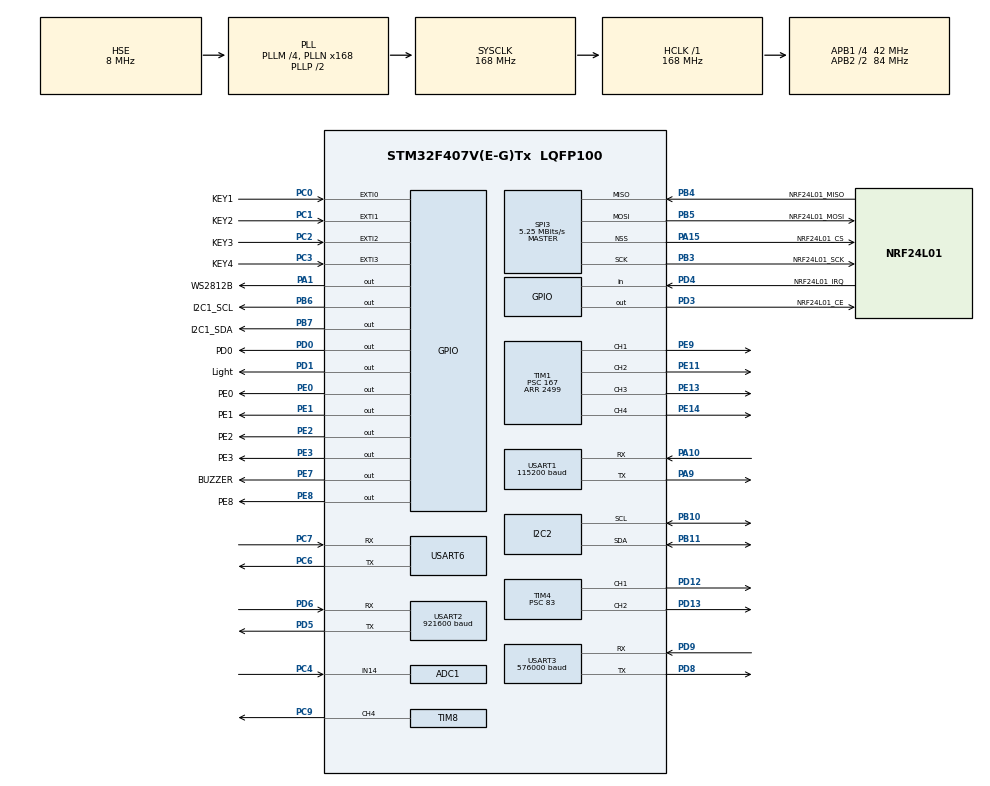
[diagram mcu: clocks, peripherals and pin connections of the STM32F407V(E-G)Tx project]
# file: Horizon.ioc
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ADC1.Channel-0\#ChannelRegularConversion=ADC_CHANNEL_14
ADC1.NbrOfConversionFlag=1
ADC1.Rank-0\#ChannelRegularConversion=1
ADC1.SamplingTime-0\#ChannelRegularConversion=ADC_SAMPLETIME_3CYCLES
ADC1.master=1
Dma.Request0=USART2_RX
Dma.Request1=USART3_RX
Dma.Request2=USART1_TX
Dma.USART1_TX.2.Direction=DMA_MEMORY_TO_PERIPH
Dma.USART1_TX.2.FIFOMode=DMA_FIFOMODE_DISABLE
Dma.USART1_TX.2.Instance=DMA2_Stream7
Dma.USART1_TX.2.MemDataAlignment=DMA_MDATAALIGN_BYTE
Dma.USART1_TX.2.MemInc=DMA_MINC_ENABLE
Dma.USART1_TX.2.Mode=DMA_CIRCULAR
Dma.USART1_TX.2.PeriphDataAlignment=DMA_PDATAALIGN_BYTE
Dma.USART1_TX.2.PeriphInc=DMA_PINC_DISABLE
Dma.USART1_TX.2.Priority=DMA_PRIORITY_HIGH
Dma.USART2_RX.0.Direction=DMA_PERIPH_TO_MEMORY
Dma.USART2_RX.0.FIFOMode=DMA_FIFOMODE_DISABLE
Dma.USART2_RX.0.Instance=DMA1_Stream5
Dma.USART2_RX.0.MemDataAlignment=DMA_MDATAALIGN_BYTE
Dma.USART2_RX.0.MemInc=DMA_MINC_ENABLE
Dma.USART2_RX.0.Mode=DMA_NORMAL
Dma.USART2_RX.0.PeriphDataAlignment=DMA_PDATAALIGN_BYTE
Dma.USART2_RX.0.PeriphInc=DMA_PINC_DISABLE
Dma.USART2_RX.0.Priority=DMA_PRIORITY_HIGH
Dma.USART3_RX.1.Direction=DMA_PERIPH_TO_MEMORY
Dma.USART3_RX.1.FIFOMode=DMA_FIFOMODE_DISABLE
Dma.USART3_RX.1.Instance=DMA1_Stream1
Dma.USART3_RX.1.MemDataAlignment=DMA_MDATAALIGN_BYTE
Dma.USART3_RX.1.MemInc=DMA_MINC_ENABLE
Dma.USART3_RX.1.Mode=DMA_CIRCULAR
Dma.USART3_RX.1.PeriphDataAlignment=DMA_PDATAALIGN_BYTE
Dma.USART3_RX.1.PeriphInc=DMA_PINC_DISABLE
Dma.USART3_RX.1.Priority=DMA_PRIORITY_VERY_HIGH
FREERTOS.BinarySemaphores01=upstate,Dynamic,NULL;downstate,Dynamic,NULL;MOTOR_EN,Dynamic,NULL
FREERTOS.INCLUDE_vTaskDelayUntil=1
FREERTOS.Tasks01=Default_Task,-3,128,StartDefault_Task,Default,NULL,Dynamic,NULL,NULL;Sensor_Task,3,512,StartSensor_Task,Default,NULL,Dynamic,NULL,NULL;PID_Task,3,1280,StartPID_Task,Default,NULL,Dynamic,NULL,NULL;KEY_Task,1,128,StartKEY_Task,Default,NULL,Dynamic,NULL,NULL;User_Taask,2,512,StartUser_Taask,Default,NULL,Dynamic,NULL,NULL;VOFA_Task,2,512,StartVOFA_Task,Default,NULL,Dynamic,NULL,NULL;POWER_Task,-2,128,StartPOWER_Task,Default,NULL,Dynamic,NULL,NULL
FREERTOS.configENABLE_FPU=1
FREERTOS.configMAX_PRIORITIES=10
FREERTOS.configUSE_APPLICATION_TASK_TAG=1
FREERTOS.configUSE_COUNTING_SEMAPHORES=1
FREERTOS.configUSE_MALLOC_FAILED_HOOK=1
FREERTOS.configUSE_RECURSIVE_MUTEXES=1
I2C2.I2C_Mode=I2C_Fast
Mcu.Family=STM32F4
Mcu.Name=STM32F407V(E-G)Tx
Mcu.Package=LQFP100
NVIC.DMA1_Stream1_IRQn=true\:5\:0\:false\:false\:true\:true\:false\:true\:true
NVIC.DMA1_Stream5_IRQn=true\:5\:0\:false\:false\:true\:true\:false\:true\:true
NVIC.DMA2_Stream7_IRQn=true\:5\:0\:false\:false\:true\:true\:false\:true\:true
NVIC.EXTI0_IRQn=true\:5\:0\:false\:false\:true\:true\:true\:true\:true
NVIC.EXTI1_IRQn=true\:5\:0\:false\:false\:true\:true\:true\:true\:true
NVIC.EXTI2_IRQn=true\:5\:0\:false\:false\:true\:true\:true\:true\:true
NVIC.EXTI3_IRQn=true\:5\:0\:false\:false\:true\:true\:true\:true\:true
NVIC.PriorityGroup=NVIC_PRIORITYGROUP_4
NVIC.TIM1_UP_TIM10_IRQn=true\:15\:0\:false\:false\:true\:false\:false\:true\:true
NVIC.TimeBase=TIM1_UP_TIM10_IRQn
NVIC.TimeBaseIP=TIM10
NVIC.USART1_IRQn=true\:6\:0\:true\:false\:true\:false\:true\:true\:true
NVIC.USART2_IRQn=true\:6\:0\:true\:false\:true\:false\:true\:true\:true
NVIC.USART3_IRQn=true\:6\:0\:true\:false\:true\:false\:true\:true\:true
NVIC.USART6_IRQn=true\:6\:0\:true\:false\:true\:false\:true\:true\:true
PA1.GPIO_Label=WS2812B
PA1.GPIO_Speed=GPIO_SPEED_FREQ_HIGH
PA1.Signal=GPIO_Output
PA10.Mode=Asynchronous
PA10.Signal=USART1_RX
PA13.Mode=Serial_Wire
PA13.Signal=SYS_JTMS-SWDIO
PA14.Mode=Serial_Wire
PA14.Signal=SYS_JTCK-SWCLK
PA15.GPIO_Label=NRF24L01_CS
PA15.GPIO_Speed=GPIO_SPEED_FREQ_HIGH
PA15.Mode=NSS_Signal_Hard_Output
PA15.Signal=SPI3_NSS
PA9.Mode=Asynchronous
PA9.Signal=USART1_TX
PB10.Mode=I2C
PB10.Signal=I2C2_SCL
PB11.Mode=I2C
PB11.Signal=I2C2_SDA
PB3.GPIO_Label=NRF24L01_SCK
PB3.GPIO_Speed=GPIO_SPEED_FREQ_HIGH
PB3.Mode=Full_Duplex_Master
PB3.Signal=SPI3_SCK
PB4.GPIO_Label=NRF24L01_MISO
PB4.GPIO_Speed=GPIO_SPEED_FREQ_HIGH
PB4.Mode=Full_Duplex_Master
PB4.Signal=SPI3_MISO
PB5.GPIO_Label=NRF24L01_MOSI
PB5.GPIO_Speed=GPIO_SPEED_FREQ_HIGH
PB5.Mode=Full_Duplex_Master
PB5.Signal=SPI3_MOSI
PB6.GPIO_Label=I2C1_SCL
PB6.GPIO_ModeDefaultOutputPP=GPIO_MODE_OUTPUT_OD
PB6.GPIO_PuPd=GPIO_NOPULL
PB6.GPIO_Speed=GPIO_SPEED_FREQ_HIGH
PB6.PinState=GPIO_PIN_SET
PB6.Signal=GPIO_Output
PB7.GPIO_Label=I2C1_SDA
PB7.GPIO_ModeDefaultOutputPP=GPIO_MODE_OUTPUT_OD
PB7.GPIO_PuPd=GPIO_NOPULL
PB7.GPIO_Speed=GPIO_SPEED_FREQ_HIGH
PB7.PinState=GPIO_PIN_SET
PB7.Signal=GPIO_Output
PC0.GPIO_Label=KEY1
PC0.GPIO_ModeDefaultEXTI=GPIO_MODE_IT_FALLING
PC0.Signal=GPXTI0
PC1.GPIO_Label=KEY2
PC1.Signal=GPXTI1
PC2.GPIO_Label=KEY3
PC2.Signal=GPXTI2
PC3.GPIO_Label=KEY4
PC3.Signal=GPXTI3
PC4.Signal=ADCx_IN14
PC6.Mode=Asynchronous
PC6.Signal=USART6_TX
PC7.Mode=Asynchronous
PC7.Signal=USART6_RX
PC9.Signal=S_TIM8_CH4
PD0.GPIO_Label=PD0
PD0.GPIO_Speed=GPIO_SPEED_FREQ_VERY_HIGH
PD0.Signal=GPIO_Output
PD1.GPIO_Label=Light
PD1.GPIO_Speed=GPIO_SPEED_FREQ_VERY_HIGH
PD1.PinState=GPIO_PIN_SET
PD1.Signal=GPIO_Output
PD12.GPIO_Speed=GPIO_SPEED_FREQ_HIGH
PD12.Signal=S_TIM4_CH1
PD13.GPIO_Speed=GPIO_SPEED_FREQ_HIGH
PD13.Signal=S_TIM4_CH2
PD3.GPIO_Label=NRF24L01_CE
PD3.GPIO_Speed=GPIO_SPEED_FREQ_HIGH
PD3.Signal=GPIO_Output
PD4.GPIO_Label=NRF24L01_IRQ
PD4.GPIO_PuPd=GPIO_PULLUP
PD4.Signal=GPIO_Input
PD5.Mode=Asynchronous
PD5.Signal=USART2_TX
PD6.Mode=Asynchronous
PD6.Signal=USART2_RX
PD8.Mode=Asynchronous
PD8.Signal=USART3_TX
PD9.Mode=Asynchronous
PD9.Signal=USART3_RX
PE0.GPIO_Label=PE0
PE0.GPIO_Speed=GPIO_SPEED_FREQ_VERY_HIGH
PE0.Signal=GPIO_Output
PE1.GPIO_Label=PE1
PE1.GPIO_Speed=GPIO_SPEED_FREQ_VERY_HIGH
PE1.Signal=GPIO_Output
PE11.GPIO_Speed=GPIO_SPEED_FREQ_HIGH
PE11.Signal=S_TIM1_CH2
PE13.GPIO_Speed=GPIO_SPEED_FREQ_HIGH
PE13.Signal=S_TIM1_CH3
PE14.GPIO_Speed=GPIO_SPEED_FREQ_HIGH
PE14.Signal=S_TIM1_CH4
PE2.GPIO_Label=PE2
PE2.GPIO_Speed=GPIO_SPEED_FREQ_VERY_HIGH
PE2.Signal=GPIO_Output
PE3.GPIO_Label=PE3
PE3.GPIO_Speed=GPIO_SPEED_FREQ_VERY_HIGH
PE3.Signal=GPIO_Output
PE7.GPIO_Label=BUZZER
PE7.GPIO_Speed=GPIO_SPEED_FREQ_VERY_HIGH
PE7.Signal=GPIO_Output
PE8.GPIO_Label=PE8
PE8.GPIO_Speed=GPIO_SPEED_FREQ_VERY_HIGH
PE8.Signal=GPIO_Output
PE9.GPIO_Speed=GPIO_SPEED_FREQ_HIGH
PE9.Signal=S_TIM1_CH1
PH0-OSC_IN.Mode=HSE-External-Oscillator
PH0-OSC_IN.Signal=RCC_OSC_IN
PH1-OSC_OUT.Mode=HSE-External-Oscillator
PH1-OSC_OUT.Signal=RCC_OSC_OUT
ProjectManager.HeapSize=0x200
ProjectManager.StackSize=0x400
ProjectManager.TargetToolchain=SW4STM32
RCC.48MHZClocksFreq_Value=84000000
RCC.AHBFreq_Value=168000000
RCC.APB1CLKDivider=RCC_HCLK_DIV4
RCC.APB1Freq_Value=42000000
RCC.APB1TimFreq_Value=84000000
RCC.APB2CLKDivider=RCC_HCLK_DIV2
RCC.APB2Freq_Value=84000000
RCC.APB2TimFreq_Value=168000000
RCC.CortexFreq_Value=168000000
RCC.HCLKFreq_Value=168000000
RCC.HSE_VALUE=8000000
RCC.HSI_VALUE=16000000
RCC.LSE_VALUE=32768
RCC.PLLM=4
RCC.PLLN=168
RCC.PLLSourceVirtual=RCC_PLLSOURCE_HSE
RCC.SYSCLKFreq_VALUE=168000000
RCC.SYSCLKSource=RCC_SYSCLKSOURCE_PLLCLK
RCC.VCOOutputFreq_Value=336000000
SH.ADCx_IN14.0=ADC1_IN14,IN14
SH.S_TIM1_CH1.0=TIM1_CH1,PWM Generation1 CH1
SH.S_TIM1_CH2.0=TIM1_CH2,PWM Generation2 CH2
SH.S_TIM1_CH3.0=TIM1_CH3,PWM Generation3 CH3
SH.S_TIM1_CH4.0=TIM1_CH4,PWM Generation4 CH4
SH.S_TIM4_CH1.0=TIM4_CH1,PWM Generation1 CH1
SH.S_TIM4_CH2.0=TIM4_CH2,PWM Generation2 CH2
SH.S_TIM8_CH4.0=TIM8_CH4,PWM Generation4 CH4
SPI3.BaudRatePrescaler=SPI_BAUDRATEPRESCALER_8
SPI3.CLKPhase=SPI_PHASE_1EDGE
SPI3.CLKPolarity=SPI_POLARITY_LOW
SPI3.CalculateBaudRate=5.25 MBits/s
SPI3.Direction=SPI_DIRECTION_2LINES
SPI3.FirstBit=SPI_FIRSTBIT_MSB
SPI3.Mode=SPI_MODE_MASTER
SPI3.VirtualNSS=VM_NSSHARD
SPI3.VirtualType=VM_MASTER
STMicroelectronics.X-CUBE-ALGOBUILD.1.3.0.LibraryCcDSPOoLibraryJjDSPOoLibrary=true
TIM1.AutoReloadPreload=TIM_AUTORELOAD_PRELOAD_ENABLE
TIM1.Channel-PWM\ Generation1\ CH1=TIM_CHANNEL_1
TIM1.Channel-PWM\ Generation2\ CH2=TIM_CHANNEL_2
TIM1.Channel-PWM\ Generation3\ CH3=TIM_CHANNEL_3
TIM1.Channel-PWM\ Generation4\ CH4=TIM_CHANNEL_4
TIM1.OCFastMode_PWM-PWM\ Generation1\ CH1=TIM_OCFAST_ENABLE
TIM1.OCFastMode_PWM-PWM\ Generation2\ CH2=TIM_OCFAST_ENABLE
TIM1.OCFastMode_PWM-PWM\ Generation3\ CH3=TIM_OCFAST_ENABLE
TIM1.OCFastMode_PWM-PWM\ Generation4\ CH4=TIM_OCFAST_ENABLE
TIM1.Period=2499
TIM1.Prescaler=167
TIM2.AutoReloadPreload=TIM_AUTORELOAD_PRELOAD_DISABLE
TIM2.Channel-Output\ Compare1\ No\ Output=TIM_CHANNEL_1
TIM2.Period=1
TIM2.Prescaler=0
TIM4.AutoReloadPreload=TIM_AUTORELOAD_PRELOAD_ENABLE
TIM4.Channel-PWM\ Generation1\ CH1=TIM_CHANNEL_1
TIM4.Channel-PWM\ Generation2\ CH2=TIM_CHANNEL_2
TIM4.OCFastMode_PWM-PWM\ Generation1\ CH1=TIM_OCFAST_ENABLE
TIM4.OCFastMode_PWM-PWM\ Generation2\ CH2=TIM_OCFAST_ENABLE
TIM4.OCPolarity_1=TIM_OCPOLARITY_LOW
TIM4.OCPolarity_2=TIM_OCPOLARITY_LOW
TIM4.Period=19999
TIM4.Prescaler=83
TIM4.Pulse-PWM\ Generation1\ CH1=0
TIM7.Period=1
TIM7.Prescaler=83
TIM8.AutoReloadPreload=TIM_AUTORELOAD_PRELOAD_ENABLE
TIM8.Channel-PWM\ Generation4\ CH4=TIM_CHANNEL_4
TIM8.Period=19999
TIM8.Prescaler=167
USART1.BaudRate=115200
USART1.VirtualMode=VM_ASYNC
USART2.BaudRate=921600
USART2.VirtualMode=VM_ASYNC
USART3.BaudRate=576000
USART3.VirtualMode=VM_ASYNC
USART6.VirtualMode=VM_ASYNC
VP_FREERTOS_VS_CMSIS_V1.Mode=CMSIS_V1
VP_STMicroelectronics.X-CUBE-ALGOBUILD_VS_DSPOoLibraryJjLibrary_1.3.0_1.3.0.Mode=DSPOoLibraryJjLibrary
VP_SYS_VS_tim10.Mode=TIM10
VP_TIM1_VS_ClockSourceINT.Mode=Internal
VP_TIM2_VS_ClockSourceINT.Mode=Internal
VP_TIM2_VS_no_output1.Mode=Output Compare1 No Output
VP_TIM4_VS_ClockSourceINT.Mode=Internal
VP_TIM6_VS_ClockSourceINT.Mode=Enable_Timer
VP_TIM7_VS_ClockSourceINT.Mode=Enable_Timer
VP_TIM8_VS_ClockSourceINT.Mode=Internal
board=custom

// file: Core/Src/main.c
/* USER CODE BEGIN Header */
/**
  ******************************************************************************
  * @file           : main.c
  * @brief          : Main program body
  ******************************************************************************
  * @attention
  *
  * Copyright (c) 2023 STMicroelectronics.
  * All rights reserved.
  *
  * This software is licensed under terms that can be found in the LICENSE file
  * in the root directory of this software component.
  * If no LICENSE file comes with this software, it is provided AS-IS.
  *
  ******************************************************************************
  */
/* USER CODE END Header */
#include "main.h"
#include "cmsis_os.h"
#include "adc.h"
#include "dma.h"
#include "i2c.h"
#include "spi.h"
#include "tim.h"
#include "usart.h"
#include "gpio.h"

/* USER CODE BEGIN Includes */
//#include "JY901.h"
#include "retarget.h"
#include "oled.h"
#include "ws2812b.h"
#include "beep.h"
#include "optical_flow.h"
//#include "NRF24L01.h"
/* USER CODE END Includes */

void SystemClock_Config(void);
void MX_FREERTOS_Init(void);

/* USER CODE BEGIN 0 */

//void HAL_TIM_PWM_PulseFinishedCallback(TIM_HandleTypeDef *htim)  //ws2812b
//{
//    printf("DMA_input\r\n");
//    WS2812_Send();
//    printf("DMA_send!\r\n");
//}
uint8_t key_flag = 0;
uint8_t USRAT_flag = 0;
//int Height = 0;
float T265_x = 0, T265_y = 0/*, T265_z = 0*/;
/*float T265x_speed = 0, T265y_speed = 0, T265z_speed = 0*/;

/* USER CODE END 0 */

int main(void)
{

  /* MCU Configuration--------------------------------------------------------*/

  /* Reset of all peripherals, Initializes the Flash interface and the Systick. */
  HAL_Init();

  /* Configure the system clock */
  SystemClock_Config();

  /* USER CODE BEGIN SysInit */
//    HAL_TIM_PWM_Init(&htim1);  //PWM初始�????

  /* USER CODE END SysInit */

  /* Initialize all configured peripherals */
  MX_GPIO_Init();
  MX_ADC1_Init();
  MX_I2C2_Init();
  MX_SPI3_Init();
  MX_TIM1_Init();
  MX_TIM4_Init();
  MX_TIM8_Init();
  MX_USART1_UART_Init();
  MX_USART6_UART_Init();
  MX_DMA_Init();
  MX_USART2_UART_Init();
  MX_USART3_UART_Init();
  MX_TIM7_Init();
  MX_TIM2_Init();
  MX_TIM6_Init();
  /* USER CODE BEGIN 2 */
//  while(JY901_check())
//  {
//      printf("JY901 ERROR!\r");
//  }
    HAL_TIM_PWM_Start(&htim1,TIM_CHANNEL_1); // ͨ��1 PWM��ʼ��
    HAL_TIM_PWM_Start(&htim1,TIM_CHANNEL_2); // ͨ��2 PWM��ʼ��
    HAL_TIM_PWM_Start(&htim1,TIM_CHANNEL_3); // ͨ��3 PWM��ʼ��
    HAL_TIM_PWM_Start(&htim1,TIM_CHANNEL_4); // ͨ��4 PWM��ʼ��
//    HAL_UART_Receive_IT(&huart1, &USRAT_flag, 1);
//    HAL_UART_Receive_DMA(&huart2,optical_flow_buf,34);  //这里是光流数据！！！
//    HAL_UART_Receive_DMA(&huart3, T265_buf, 14);      //这里是T265数据！！！
//    HAL_UART_Receive_DMA(&huart1, Car_buf, 5);

    HAL_TIM_PWM_Start(&htim8,TIM_CHANNEL_4); // 舱门舵机控制
    __HAL_TIM_SET_COMPARE(&htim8, TIM_CHANNEL_4, 500);    //舱门关

    HAL_GPIO_WritePin(GPIOD, Light_Pin, 1); //新的蜂鸣器关

    OLED_Init();
    OLED_Clear();

  /* USER CODE END 2 */

  /* Call init function for freertos objects (in freertos.c) */
  MX_FREERTOS_Init();
  /* Start scheduler */
  osKernelStart();

  /* We should never get here as control is now taken by the scheduler */
  /* Infinite loop */
  while (1)
  {

    /* USER CODE BEGIN 3 */

    //以下代码均为调试期间的裸机调试代码，可忽略

//      Get_Angle_Data(&pitch,&roll,&Yaw_T265);
//      printf("%f %f %f \r",pitch,roll,Yaw_T265);
//      HAL_Delay(100);
//      __HAL_TIM_SET_COMPARE(&htim2, TIM_CHANNEL_2, 50);
//      WS2812_Start();
//      RGB_Start();
//        RGB_On();
//      delay_08us();
//        RGB_Off();
//      delay_08us();
//      RGB_Light_Red();
//      HAL_Delay(1000);
//      RGB_Light_Blue();

//      HAL_UART_Transmit(&huart3, &USART_Receiver, 1, 0xff);
//      HAL_Delay(100);

//      beep_on();beep_on();beep_on();
//      ws218_Clear();

//      HAL_Delay(1000);
//      RGB_Off();

//      RGB_Off();
//      HAL_Delay(10);
//      WS2812_Send();
//      __HAL_TIM_SET_COMPARE(&htim2, TIM_CHANNEL_2, 50);
//      HAL_Delay(100);
//      optical_flow_receive(optical_flow_buf,60);

//      HAL_UART_Transmit(&huart1, optical_flow_buf, 120, 0xffff);
//      HAL_Delay(100);
//      HAL_UART_Receive_DMA(&huart2,optical_flow_buf,120);
//      HAL_Delay(100);
  }
  /* USER CODE END 3 */
}

void SystemClock_Config(void)
{
  RCC_OscInitTypeDef RCC_OscInitStruct = {0};
  RCC_ClkInitTypeDef RCC_ClkInitStruct = {0};

  /** Configure the main internal regulator output voltage
  */
  __HAL_RCC_PWR_CLK_ENABLE();
  __HAL_PWR_VOLTAGESCALING_CONFIG(PWR_REGULATOR_VOLTAGE_SCALE1);
  /** Initializes the RCC Oscillators according to the specified parameters
  * in the RCC_OscInitTypeDef structure.
  */
  RCC_OscInitStruct.OscillatorType = RCC_OSCILLATORTYPE_HSE;
  RCC_OscInitStruct.HSEState = RCC_HSE_ON;
  RCC_OscInitStruct.PLL.PLLState = RCC_PLL_ON;
  RCC_OscInitStruct.PLL.PLLSource = RCC_PLLSOURCE_HSE;
  RCC_OscInitStruct.PLL.PLLM = 4;
  RCC_OscInitStruct.PLL.PLLN = 168;
  RCC_OscInitStruct.PLL.PLLP = RCC_PLLP_DIV2;
  RCC_OscInitStruct.PLL.PLLQ = 4;
  if (HAL_RCC_OscConfig(&RCC_OscInitStruct) != HAL_OK)
  {
    Error_Handler();
  }
  /** Initializes the CPU, AHB and APB buses clocks
  */
  RCC_ClkInitStruct.ClockType = RCC_CLOCKTYPE_HCLK|RCC_CLOCKTYPE_SYSCLK
                              |RCC_CLOCKTYPE_PCLK1|RCC_CLOCKTYPE_PCLK2;
  RCC_ClkInitStruct.SYSCLKSource = RCC_SYSCLKSOURCE_PLLCLK;
  RCC_ClkInitStruct.AHBCLKDivider = RCC_SYSCLK_DIV1;
  RCC_ClkInitStruct.APB1CLKDivider = RCC_HCLK_DIV4;
  RCC_ClkInitStruct.APB2CLKDivider = RCC_HCLK_DIV2;

  if (HAL_RCC_ClockConfig(&RCC_ClkInitStruct, FLASH_LATENCY_5) != HAL_OK)
  {
    Error_Handler();
  }
}

/* USER CODE BEGIN 4 */
void HAL_UART_RxCpltCallback(UART_HandleTypeDef *huart)  //串口中断回调。为防止硬件中断干扰操作系统时序，已采用空闲中断
{
//    if(huart->Instance == USART1)   //
//    {
//        printf("hello!\r\n");
//        HAL_UART_Receive_IT(&huart1, &USRAT_flag, 1);
////        key_flag = 1;
//    }
//    if(huart->Instance == USART2)
//    {
//        if((int)TF_buf[0]==0x59)
//        {
//            HAL_UART_Receive(&huart2,TF_buf+1,1,0xff);
//            if((int)TF_buf[1]==0x59)
//            {
//                HAL_UART_Receive(&huart2,TF_buf+2,7, 0xff);
//                check=(int)TF_buf[0]+(int)TF_buf[1]+(int)TF_buf[2]+(int)TF_buf[3]+(int)TF_buf[4]+(int)TF_buf[5]+(int)TF_buf[6]+(int)TF_buf[7];
//                if((int)TF_buf[8]==(check&0xff))
//                {
//                    if(((int)TF_buf[2]+(int)TF_buf[3]*256) > 0 && ((int)TF_buf[2]+(int)TF_buf[3]*256) < 240)
//                    {
//                        Height = (int)TF_buf[2]+(int)TF_buf[3]*256;
//                    }
//                }
//            }
//        }
//        else
//            TF_buf[0] = 0;
//        HAL_UART_Receive_IT(&huart2,TF_buf,1);
//    }

//    if(huart->Instance == USART3)   //�жϷ��������жϵĴ���
//    {
////        printf("Hello!T265!\r\n");
//        HAL_UART_Receive_DMA(&huart3, T265_buf, 14);
////          HAL_UART_Receive_DMA(&huart3, T265_buf + 2, 12);
//    }
}

void HAL_GPIO_EXTI_Callback(uint16_t GPIO_Pin) {
    if (GPIO_Pin == KEY1_Pin) {
//        printf("key_input\r\n");
        key_flag = 1;
    }
    if (GPIO_Pin == KEY2_Pin)
    {
//        printf("key_input\r\n");
        key_flag = 2;
    }
    if (GPIO_Pin == KEY3_Pin)
    {
//        printf("key_input\r\n");
        key_flag = 3;
    }
    if (GPIO_Pin == KEY4_Pin)
    {
//        printf("key_input\r\n");
        key_flag = 4;
    }
}
/* USER CODE END 4 */

void HAL_TIM_PeriodElapsedCallback(TIM_HandleTypeDef *htim)
{
  if (htim->Instance == TIM10) {
    HAL_IncTick();
  }
}

void Error_Handler(void)
{
  /* USER CODE BEGIN Error_Handler_Debug */
  /* User can add his own implementation to report the HAL error return state */
  __disable_irq();
  while (1)
  {
      __HAL_TIM_SET_COMPARE(&htim1, TIM_CHANNEL_1, 1250);
      __HAL_TIM_SET_COMPARE(&htim1, TIM_CHANNEL_2, 1250);
      __HAL_TIM_SET_COMPARE(&htim1, TIM_CHANNEL_3, 1250);
      __HAL_TIM_SET_COMPARE(&htim1, TIM_CHANNEL_4, 1250);

      beep_on();beep_on();beep_on();

      HAL_Delay(1000);
  }
  /* USER CODE END Error_Handler_Debug */
}

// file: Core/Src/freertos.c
/* USER CODE BEGIN Header */
/**
  ******************************************************************************
  * File Name          : freertos.c
  * Description        : Code for freertos applications
  ******************************************************************************
  * @attention
  *
  * Copyright (c) 2023 STMicroelectronics.
  * All rights reserved.
  *
  * This software is licensed under terms that can be found in the LICENSE file
  * in the root directory of this software component.
  * If no LICENSE file comes with this software, it is provided AS-IS.
  *
  ******************************************************************************
  */
/* USER CODE END Header */

#include "FreeRTOS.h"
#include "task.h"
#include "main.h"
#include "cmsis_os.h"

/* USER CODE BEGIN Includes */
#include "JY901.h"
#include "retarget.h"
#include "tim.h"
#include "usart.h"
#include "PID.h"
#include "ws2812b.h"
#include "beep.h"
#include "oled.h"
#include "optical_flow.h"
#include "move.h"
//#include "arm_math.h"
//#include "NRF24L01.h"
/* USER CODE END Includes */

/* USER CODE BEGIN PTD */
/*************************** 声明全局变量 ***************************/

/************* 高度相关 ***************/
float throttle = 0;    //油门值
float Height_real = 0;  //实际的高度值
float Height_old = 0;  //上次的高度值
float Height_speed = 0;  //高度速度
float Height_expect = 120;  //期望高度
float Height_JY901 = 0;  //由JY901B得到的高度数据（气压计） 未使用
float Height_array[5];   //高度缓冲数组，用于最小二乘法计算

/************* 位置相关 ***************/
float roll = 0, pitch = 0,/* yaw = 0, */Yaw_T265 = 0;  //姿态信息，飞行器实际使用的yaw来自T265
float gyrox = 0, gyroy = 0, gyroz = 0;  //姿态（角速度）信息
float x_expect=0,y_expect=0,yaw_expect=0;  //姿态期望
uint8_t openmv_buf[3] = {0};  //OpenMV数据缓冲，协议为目标位置的坐标（x，y）整型转字符型ASCII码值，第一位帧头
float displacement_x=0,displacement_y=0,displacement_speed_x=0,displacement_speed_y=0;  //水平位置信息
float fire_position_x=0,fire_position_y=0;  //火焰位置信息

/************ 全局标志位 ***************/
int timer = 0;  //全局定时标志位，时长约为1s
uint8_t start_flag = 0;  //正在做题的序号
uint8_t start_temp = 1;  //序号缓冲变量
uint8_t Height_flag = 0;  //定高标志位
uint8_t MOTOR_EN = 0;     //电机使能标志位
float test = 0;

/*******************************END********************************/

/*************************** 各结构图声明 ***************************/

//角度外环
PIDPosition_improve PID_roll; PIDPosition_improve PID_pitch; PIDPosition PID_yaw;
//角度内环
Pid_inc Roll_Velocity; Pid_inc Pitch_Velocity; Pid_inc Yaw_Velocity;
//高度内外环
PIDPosition PID_Height_speed; PIDPosition PID_Height;
//位置外环
PIDPosition_improve PID_location_x; PIDPosition_improve PID_location_y;
PIDPosition_improve velocity_location_x; PIDPosition_improve velocity_location_y;

/*******************************END********************************/

/* USER CODE END PTD */

osThreadId Default_TaskHandle;
osThreadId Sensor_TaskHandle;
osThreadId PID_TaskHandle;
osThreadId KEY_TaskHandle;
osThreadId User_TaaskHandle;
osThreadId VOFA_TaskHandle;
osThreadId POWER_TaskHandle;
osSemaphoreId upstateHandle;
osSemaphoreId downstateHandle;
osSemaphoreId MOTOR_ENHandle;

void StartDefault_Task(void const * argument);
void StartSensor_Task(void const * argument);
void StartPID_Task(void const * argument);
void StartKEY_Task(void const * argument);
void StartUser_Task(void const * argument);
void StartVOFA_Task(void const * argument);
void StartPOWER_Task(void const * argument);

void MX_FREERTOS_Init(void); /* (MISRA C 2004 rule 8.1) */

/* GetIdleTaskMemory prototype (linked to static allocation support) */
void vApplicationGetIdleTaskMemory( StaticTask_t **ppxIdleTaskTCBBuffer, StackType_t **ppxIdleTaskStackBuffer, uint32_t *pulIdleTaskStackSize );

/* Hook prototypes */
void vApplicationMallocFailedHook(void);

/* USER CODE BEGIN 5 */
__weak void vApplicationMallocFailedHook(void) {
    /* vApplicationMallocFailedHook() will only be called if
    configUSE_MALLOC_FAILED_HOOK is set to 1 in FreeRTOSConfig.h. It is a hook
    function that will get called if a call to pvPortMalloc() fails.
    pvPortMalloc() is called internally by the kernel whenever a task, queue,
    timer or semaphore is created. It is also called by various parts of the
    demo application. If heap_1.c or heap_2.c are used, then the size of the
    heap available to pvPortMalloc() is defined by configTOTAL_HEAP_SIZE in
    FreeRTOSConfig.h, and the xPortGetFreeHeapSize() API function can be used
    to query the size of free heap space that remains (although it does not
    provide information on how the remaining heap might be fragmented). */
}
/* USER CODE END 5 */

/* USER CODE BEGIN GET_IDLE_TASK_MEMORY */
static StaticTask_t xIdleTaskTCBBuffer;
static StackType_t xIdleStack[configMINIMAL_STACK_SIZE];

void vApplicationGetIdleTaskMemory(StaticTask_t **ppxIdleTaskTCBBuffer, StackType_t **ppxIdleTaskStackBuffer,
                                   uint32_t *pulIdleTaskStackSize) {
    *ppxIdleTaskTCBBuffer = &xIdleTaskTCBBuffer;
    *ppxIdleTaskStackBuffer = &xIdleStack[0];
    *pulIdleTaskStackSize = configMINIMAL_STACK_SIZE;
    /* place for user code */
}
/* USER CODE END GET_IDLE_TASK_MEMORY */

void MX_FREERTOS_Init(void) {

  /* Create the semaphores(s) */
  /* definition and creation of upstate */
  osSemaphoreDef(upstate);
  upstateHandle = osSemaphoreCreate(osSemaphore(upstate), 1);

  /* definition and creation of downstate */
  osSemaphoreDef(downstate);
  downstateHandle = osSemaphoreCreate(osSemaphore(downstate), 1);

  /* definition and creation of MOTOR_EN */
  osSemaphoreDef(MOTOR_EN);
  MOTOR_ENHandle = osSemaphoreCreate(osSemaphore(MOTOR_EN), 1);

  /* Create the thread(s) */
  /* definition and creation of Default_Task */
  osThreadDef(Default_Task, StartDefault_Task, osPriorityIdle, 0, 128);
  Default_TaskHandle = osThreadCreate(osThread(Default_Task), NULL);

  /* definition and creation of Sensor_Task */
  osThreadDef(Sensor_Task, StartSensor_Task, osPriorityRealtime, 0, 512);
  Sensor_TaskHandle = osThreadCreate(osThread(Sensor_Task), NULL);

  /* definition and creation of PID_Task */
  osThreadDef(PID_Task, StartPID_Task, osPriorityRealtime, 0, 1280);
  PID_TaskHandle = osThreadCreate(osThread(PID_Task), NULL);

  /* definition and creation of KEY_Task */
  osThreadDef(KEY_Task, StartKEY_Task, osPriorityAboveNormal, 0, 128);
  KEY_TaskHandle = osThreadCreate(osThread(KEY_Task), NULL);

  /* definition and creation of User_Taask */
  osThreadDef(User_Taask, StartUser_Task, osPriorityHigh, 0, 512);
  User_TaaskHandle = osThreadCreate(osThread(User_Taask), NULL);

  /* definition and creation of VOFA_Task */
  osThreadDef(VOFA_Task, StartVOFA_Task, osPriorityAboveNormal, 0, 512);
  VOFA_TaskHandle = osThreadCreate(osThread(VOFA_Task), NULL);

  /* definition and creation of POWER_Task */
  osThreadDef(POWER_Task, StartPOWER_Task, osPriorityLow, 0, 128);
  POWER_TaskHandle = osThreadCreate(osThread(POWER_Task), NULL);

}

void StartDefault_Task(void const * argument)
{
  /* USER CODE BEGIN StartDefault_Task */
    /* Infinite loop */
    for (;;) {
        osDelay(10000);
    }
  /* USER CODE END StartDefault_Task */
}

void StartSensor_Task(void const * argument)
{
  /* USER CODE BEGIN StartSensor_Task */

//    TickType_t xPreviousWakeTime;
//    xPreviousWakeTime = xTaskGetTickCount();
    static float DX_SPE_pre=0,DY_SPE_pre=0;

    /* Infinite loop */
    for (;;) {

        taskENTER_CRITICAL();

//        while (JY901_check()) {
//            osDelay(10);
//        }

        Get_Angle_Data(&roll,&pitch);
        Get_Angular_Velocity(&gyrox, &gyroy, &gyroz);

        optical_flow_receive(optical_flow_buf,34);
        HAL_UART_Receive_DMA(&huart2,optical_flow_buf,34);      //这里是光流和高度数据！！！

        HAL_UART_Receive_DMA(&huart3, T265_buf, 14);      //这里是T265数据！！！

        displacement_speed_x = DX_SPE*0.7f+DX_SPE_pre*0.3f;
        displacement_speed_y = DY_SPE*0.7f+DY_SPE_pre*0.3f;
        DX_SPE_pre = DX_SPE;
        DY_SPE_pre = DY_SPE;

//        HAL_UART_Receive_DMA(&huart3, T265_buf, 14);
        UsartReceiveOneData(&T265_x,&T265_y,&Yaw_T265);

//        UsartReceiveOneData(&T265_x,&T265_y,&Yaw_T265);

        taskEXIT_CRITICAL();  //退出临界区，允许任务调度

        osDelay(10);
//        vTaskDelayUntil(&xPreviousWakeTime, 10);
    }
  /* USER CODE END StartSensor_Task */
}

void StartPID_Task(void const * argument)
{
  /* USER CODE BEGIN StartPID_Task */

    uint8_t Pid_count = 0,locat_count = 0;  //计数单位，内环计算两次外环计算一次，以缓解系统快速计算的压力
    uint8_t Height_count = 0;  //高度计数变量
    static float roll_rad=0,pitch_rad=0;  //将角度转换为弧度
    static float Pitch_Pid_out = 0, Roll_Pid_out = 0, Yaw_Pid_out = 0;    //姿态外环PID输出
    static float Pitch_Velocity_out = 0, Roll_Velocity_out = 0, Yaw_Velocity_out = 0;    //姿态内环PID计算结果
//    static float Height_Pid_out = 0;  //高度PID输出 （未使用）
    static float Height_old_speed = 0;
//    static float velocity_x_pre = 0,velocity_y_pre = 0;
    static float Displacement_x_out = 0,Displacement_y_out = 0;
    static float velocity_x_out = 0,velocity_y_out = 0;

    float bbb;  //图像的截距。没有用到，只需要斜率

//    static float x_pre=0,y_pre=0,x_speed_pre=0,y_speed_pre=0;

//    uint32_t previousTimestamp = 0;  // 记录上一次时间戳的变量
//    uint32_t currentTimestamp = 0;   // 记录当前时间戳的变量
//    uint32_t dt = 0;                 // 时间间隔，单位毫秒

    PID_Position_improve_Init(&PID_roll, 1.5f, 0, 0.6f, 100, 100, 100, 10, 0.5f);
    PID_Position_improve_Init(&PID_pitch, 1.5f, 0, 0.6f, 100, 100, 100, 10, 0.5f);
    PID_Position_Init(&PID_yaw, 1.0f, 0, 0, 30, 30, 10);
    PID_Set_Pid_Inc(&Roll_Velocity, 1.4f, 0.065f, 1.0f);
    PID_Set_Pid_Inc(&Pitch_Velocity, 1.4f, 0.065f, 1.0f);
//    PID_Set_Pid_Inc(&Yaw_Velocity, 16.9f, 0.025f, 0.2f);
    PID_Set_Pid_Inc(&Yaw_Velocity, 7.8f, 0.04f, 0);
//    PID_Set_Pid_Inc(&Yaw_Velocity, 0, 0, 0);
    arm_pid_init_f32(&Roll_Velocity, 1);
    arm_pid_init_f32(&Pitch_Velocity, 1);
    arm_pid_init_f32(&Yaw_Velocity, 1);

    //高度环PID结构体赋值
    PID_Position_Init(&PID_Height, 0.5f, 0.05f, 2.0f, 20, 50, 20);
    PID_Position_Init(&PID_Height_speed, 1.0f, 0.001f, 32.0f,20,20,36);

    //位置环PID结构图赋值
    PID_Position_improve_Init(&PID_location_x, 2.6f, 0, 0.5f, 20, 20, 20, 5, 0.1f);
    PID_Position_improve_Init(&PID_location_y, 2.6f, 0, 0.5f, 20, 20, 20, 5, 0.1f);

    //位置速度环PID结构图赋值
    PID_Position_improve_Init(&velocity_location_x, -0.3f, -0.05f, -0.1f, 30, 15, 10, 20, 0.01f);
    PID_Position_improve_Init(&velocity_location_y, -0.3f, -0.05f, -0.1f, 30, 15, 10, 20, 0.01f);

//    PID_Reset_Pid_Inc(&Roll_Velocity);PID_Reset_Pid_Inc(&Pitch_Velocity);PID_Reset_Pid_Inc(&Yaw_Velocity);

//    TickType_t xPreviousWakeTime;
//    // 初始化 xPreviousWakeTime
//    xPreviousWakeTime = xTaskGetTickCount();

    /* Infinite loop */
    for (;;) {

        taskENTER_CRITICAL();  // 进入临界区，屏蔽部分可屏蔽中断

        Pid_count++;
        locat_count++;
        if (Pid_count == 2)Pid_count = 0;
        if (locat_count == 6)Pid_count = 0;
        test = locat_count;

        roll_rad  = (float)cos(roll*3.14159/180);
        pitch_rad = (float)cos(pitch*3.14159/180);

        Height_real = ((float)Height)*roll_rad*pitch_rad;	// 高度校正，斜边转直角边
//        Height_real = Height_real_pre*0.5f + Height_real*0.5f;
//        Height_real_pre = Height_real;

//最小二乘法得高度速度
        if(Height_count == 5)
        {
            Height_count = 0;
            lsqe(X_axis,Height_array,5,&Height_speed,&bbb);  //最小二乘法计算斜率（高度速度）
        }

        Height_array[Height_count] = Height_real;
        Height_count++;

//传统高度速度测量
//        if(Height_count == 2)
//        {
//            Height_count = 0;
//            Height_speed = (float)(Height_real-Height_old);
//            Height_old = Height_real;
//        }

//        Height_array[Height_count] = Height_real;
//        Height_count++;

        Height_speed = (float)(Height_old_speed*0.9+Height_speed*0.1);  //平滑滤波
        Height_old_speed = Height_speed;  //更新数据

        switch(Height_flag)  //无人机的高度状态全部在这里控制。后续如需更改无人机高度方面的动作，只需更改Height_flag的值
        {
            case 1: //初始，快速升速状态。此时飞机不会离地
                if(throttle>600){Height_flag=2;}
                else		throttle+=2;
                break;
            case 2: //接近临界起飞点时，缓慢加速。为了精确获得平衡油门值
                if(Height_real>=40){throttle_balance = throttle;Height_flag=4;}
                else		throttle+=0.5f;
                break;
            case 3: //以平衡油门缓慢上升
                if(Height_real>70){Height_flag=4;}
                else 		throttle=throttle_balance;
                break;
            case 4: //定高
//                throttle = KeepHeight_Remake(4.8f,19.5f,Height_real,Height_speed,Height_expect);
                throttle = KeepHeight(&PID_Height,&PID_Height_speed,Height_real,Height_expect,Height_speed);
//                throttle = throttle_balance + PID_Position_calculate(&PID_Height,Height_expect,Height_real);
                break;
            case 5: //降落
                if(Height_real<18){MOTOR_EN = 0;}
                else if(Height_real<32){throttle=throttle_balance-36;}
//                else    throttle = KeepHeight_Remake(5.0f,13.5f,Height_real,Height_speed,25);
                else throttle = KeepHeight(&PID_Height,&PID_Height_speed,Height_real,28,Height_speed);
                break;
            case 6: //降高度，不落地
//                if(Height_real>80){throttle=throttle_balance-20;}
//                else    throttle = KeepHeight_Remake(4.6f,13.5f,Height_real,Height_speed,40);
//                else throttle = KeepHeight(&PID_Height,&PID_Height_speed,Height_real,60,Height_speed);
                throttle = KeepHeight(&PID_Height,&PID_Height_speed,Height_real,60,Height_speed);
                break;
            case 7: //恢复高度
//                if(Height_real<55){throttle=throttle_balance+20;}
//                else    {throttle = KeepHeight(&PID_Height,&PID_Height_speed,Height_real,Height_expect,Height_speed);
//                            Height_flag = 4;}
                Height_flag = 4;
                break;
            default: MOTOR_EN = 0;break;
        }

        test = KeepHeight(&PID_Height,&PID_Height_speed,Height_real,Height_expect,Height_speed);
//        test = PID_Position_calculate(&PID_Height,Height_expect,Height_real);//如果存在?度差，则会输出速度
//            test = Height_speed;

//        displacement_x = Position_filtering(T265_x,.&x_pre);
//        displacement_y = Position_filtering(T265_y,&y_pre);
//        displacement_speed_x = Position_filtering(T265x_speed,&x_speed_pre);
//        displacement_speed_y = Position_filtering(T265y_speed,&y_speed_pre);

//        if(T265_x < 60 && T265_x > 1 && T265_y < 1 && T265_y > -60)
//        {
//            displacement_x = T265_x*1.25f;
//            displacement_y = T265_y*1.25f;
//        }

//        displacement_x = DX_DIS;
//        displacement_y = DY_DIS;

        //达到临界起飞油门才计算 600
        if(throttle >= 600) {

            if (Pid_count == 1) {  //外环计算
                Displacement_x_out = PID_Position_separate_calculate(&PID_location_x, x_expect, T265_x);
                Displacement_y_out = PID_Position_separate_calculate(&PID_location_y, y_expect, T265_y);

                velocity_x_out = PID_Position_separate_calculate(&velocity_location_x, Displacement_x_out, displacement_speed_x);
                velocity_y_out = PID_Position_separate_calculate(&velocity_location_y, Displacement_y_out, displacement_speed_y);

                Roll_Pid_out = PID_Position_separate_calculate(&PID_roll, velocity_x_out, roll);
                Pitch_Pid_out = PID_Position_separate_calculate(&PID_pitch, velocity_y_out, pitch);
                Yaw_Pid_out = PID_Yaw_Angel_Velocity_Local(&PID_yaw, yaw_expect, Yaw_T265);

            }

            //内环计算
            Roll_Velocity_out = PID_Currency_Inc_Cacl(&Roll_Velocity, Roll_Pid_out, gyrox);
            Pitch_Velocity_out = PID_Currency_Inc_Cacl(&Pitch_Velocity, Pitch_Pid_out, gyroy);
            Yaw_Velocity_out = PID_Currency_Inc_Cacl(&Yaw_Velocity, Yaw_Pid_out, gyroz);  //PID_Yaw_Angel_Velocity_Cacl
        }

        //角度保护
        MPU_Angel_Protection(roll, &MOTOR_EN);
        MPU_Angel_Protection(pitch, &MOTOR_EN);

        if (MOTOR_EN == 1) {
            __HAL_TIM_SET_COMPARE(&htim1, TIM_CHANNEL_1,
                                  Time_Limit_Pwm((int) (1250 + throttle + Attitude_Result(1, 1, 1))));
            __HAL_TIM_SET_COMPARE(&htim1, TIM_CHANNEL_2,
                                  Time_Limit_Pwm((int) (1250 + throttle + Attitude_Result(-1, 1, -1))));
            __HAL_TIM_SET_COMPARE(&htim1, TIM_CHANNEL_3,
                                  Time_Limit_Pwm((int) (1250 + throttle + Attitude_Result(1, -1, -1))));
            __HAL_TIM_SET_COMPARE(&htim1, TIM_CHANNEL_4,
                                  Time_Limit_Pwm((int) (1250 + throttle + Attitude_Result(-1, -1, 1))));
        } else {
            __HAL_TIM_SET_COMPARE(&htim1, TIM_CHANNEL_1, 1250);
            __HAL_TIM_SET_COMPARE(&htim1, TIM_CHANNEL_2, 1250);
            __HAL_TIM_SET_COMPARE(&htim1, TIM_CHANNEL_3, 1250);
            __HAL_TIM_SET_COMPARE(&htim1, TIM_CHANNEL_4, 1250);
        }

        taskEXIT_CRITICAL();  // 退出临界区，允许任务调度

         if(MOTOR_EN == 0)  //对结构体和结果等进行复位
         {
             throttle = 0;
             Height_flag = 0;
             PID_Reset_Pid_improve(&PID_roll);
             PID_Reset_Pid_improve(&PID_pitch);
             PID_Reset_Pid_Local(&PID_yaw);
             Pitch_Velocity_out = 0;
             Roll_Velocity_out = 0;
             Yaw_Velocity_out = 0;
//             Height_Pid_out = 0;
             Displacement_x_out = 0;
             Displacement_y_out = 0;
             arm_pid_init_f32(&Roll_Velocity, 1);
             arm_pid_init_f32(&Pitch_Velocity, 1);
             arm_pid_init_f32(&Yaw_Velocity, 1);
             PID_Reset_Pid_Local(&PID_Height);
             PID_Reset_Pid_Local(&PID_Height_speed);
             start_flag = 0;
//             Height_real_pre = 0;
         }

        osDelay(10);
//        vTaskDelayUntil(&xPreviousWakeTime, pdMS_TO_TICKS(10));
    }
  /* USER CODE END StartPID_Task */
}

void StartKEY_Task(void const * argument)
{
  /* USER CODE BEGIN StartKEY_Task */

    int i = 0;
    uint8_t Hatch_temp = 0;  //控制货舱舱门
    /* Infinite loop */
    for (;;) {

//        HAL_UART_Receive(&huart1, &USRAT_flag, 1, 50);  //接收无线串口，如起飞指令等信息

//        beep_on();
        if (key_flag == 1 || USRAT_flag == 'a')
        {
            if (i == 1) {
                RGB_Light_Green();
                beep_on();
            } else if (i == 2) {
                RGB_Light_Blue();
                beep_on();
                yaw_expect = Yaw_T265;
            }
            else if (i == 3) {
                beep_on();
                RGB_Light_Red();
                key_flag = 0;
                USRAT_flag = 0;
                MOTOR_EN = 1;
                Height_flag = 1;
                start_flag = start_temp;
            }
            i++;
        }
        else if(key_flag == 2 || USRAT_flag == 'd')
        {
            USRAT_flag = 0;
            Height_flag = 0;
            MOTOR_EN = 0;
            throttle = 0;
            RGB_Light_Green();
            beep_on();beep_on();beep_on();
            key_flag = 0;
        }
        else if(key_flag == 3)  //选择做基础题还是发挥题，1为基础
        {
            key_flag = 0;
            start_temp += 1;
            if(start_temp == 3)
                start_temp = 1;
        }
        else if(key_flag == 4)  //控制舱门开关
        {
            key_flag = 0;
            Hatch_temp += 1;
            if(Hatch_temp == 2)
                Hatch_temp = 0;

            if(Hatch_temp == 1)
                Hatch_on();
            else
                Hatch_off();
        }
//        else if(USRAT_flag == 'H')
//        {
//            USRAT_flag = 0;
//            Height_expect = 40;
//        }
//        else if(USRAT_flag == 'J')
//        {
//            USRAT_flag = 0;
//            Height_expect = 150;
//        }
//        else if(USRAT_flag == 'K')  //此段程序是由无线串口控制停机
//        {
//            USRAT_flag = 0;
//            Height_flag = 5;
//        }
//        else if(USRAT_flag == 'V')
//        {
//            USRAT_flag = 0;
//            x_expect = 100;
//        }
//        else if(USRAT_flag == 'B')
//        {
//            USRAT_flag = 0;
//            x_expect = 0;
//        }
        else {
            i = 0;
        }

        timer++; //全局计时器
        if(timer == 10000) timer = 0;

        osDelay(1000);
//        vTaskDelayUntil(&xPreviousWakeTime, pdMS_TO_TICKS(1000));
    }
  /* USER CODE END StartKEY_Task */
}

void StartUser_Task(void const * argument)
{
  /* USER CODE BEGIN StartUser_Task */
    static int Current_time = 0;  //当前时间记录。非实时，timer才是实时的
    static uint8_t state = 0;     //飞机跑图时的各种状态
    static uint8_t throttle_balance_flag = 1;  //用于补偿平衡油门的信号
    static uint8_t state_temp = 0;             //缓冲状态
    static uint8_t openmv_temp = 0;            //临时变量，用于保证只读取OpenMV一次数据
    /* Infinite loop */
    for (;;) {
//        HAL_UART_Receive_DMA(&huart3, T265_buf, 14);

        if(start_flag == 0)  //准备阶段，屏幕上显示相关信息，出现“OK”字样且下方数据小幅度波动时代表T265就绪，可以启动飞行
        {
            OLED_ShowString(0,0,"Height:",16);
//            if((int)Yaw_T265 < 0)
//            {
//                OLED_ShowString(48,0,"--",16);
//                OLED_ShowNum(80, 0, (int)-Yaw_T265, 3, 16);
//            }
//            else
//            {
//                OLED_ShowString(48,0,"++",16);
//                OLED_ShowNum(80, 0, (int)Yaw_T265, 3, 16);
//            }
            OLED_ShowNum(80, 0, (int)Height_real, 3, 16);
            OLED_ShowString(0,2,"T265:",16);
            OLED_ShowString(0,4,"date:",16);
//            OLED_ShowNum(112,2,(int)point1,2,16);
//            OLED_ShowNum(112,4,(int)point2,2,16);
            if(T265_x != 0 && T265_x < 0.2f && T265_x > -0.2f)
                OLED_ShowString(96,2,"OK",16);
            else
                OLED_ShowString(96,2,"NO",16);

            if(T265_x >= 0)
                OLED_ShowNum(96,4,(int)(T265_x*1000),4,16);
            else
                OLED_ShowNum(96,4,(int)(-T265_x*1000),4,16);

            OLED_ShowNum(112,2,(int)(start_temp),1,16);

            OLED_ShowChinese(32,6,1); //航
            OLED_ShowChinese(48,6,2); //行
            OLED_ShowChinese(64,6,3); //顺
            OLED_ShowChinese(80,6,4); //利
        }

        if(start_flag == 1 || start_flag == 2)  //正在做第一个题、第二个题 主体为共用部分
        {
            switch(state)
            {
                case 0 :
                    if(Height_real > 80 && Height_real < 120)  //已经起飞
                        {
                            state = 1;
                            Current_time = timer;
                        }break;
                case 1 :
//                    if(timer > (Current_time+12) && throttle_balance_flag == 1)
//                    {
//                        throttle_balance += 5;
//                        throttle_balance_flag = 0;
//                    }
                    if(timer > (Current_time+8)/* && Height_real > 60 && Height_real < 100*/)  //检测是否稳定悬停
                    {
//                        if(Yaw_T265 < yaw_expect + 3 && Yaw_T265 > yaw_expect - 3)  //正式跑图
//                        {
//                            position_move(1,&x_expect,&y_expect);  //去1点
//                            state = 2;
//                        }
                        state = 21;
                    }break;
                case 2 :  //2023国赛_优化后的代码
                    if(T265_x > x_expect-1 && T265_x < x_expect+1 && T265_y > y_expect-1 && T265_y < y_expect+1)
                    {
                            Current_time = timer;
                            position_move(2,&x_expect,&y_expect);  //去2点 转折点
                            state = 3;
                    }break;
                case 3 :
                    if(T265_x > x_expect-1 && T265_x < x_expect+1 && T265_y > y_expect-1 && T265_y < y_expect+1)
                    {
                        Current_time = timer;
                        if(throttle_balance_flag == 1)
                        {
                            throttle_balance_flag = 2;
                            throttle_balance += 8;
                        }
                        position_move(3,&x_expect,&y_expect);  //去3点
                        state = 4;
                    }break;
                case 4 :
                    if(T265_x > x_expect-1 && T265_x < x_expect+1 && T265_y > y_expect-1 && T265_y < y_expect+1)
                    {
                        Current_time = timer;
                        position_move(4,&x_expect,&y_expect);  //去4点 转折点
                        state = 5;
                    }break;
                case 5 :
                    if(T265_x > x_expect-1 && T265_x < x_expect+1 && T265_y > y_expect-1 && T265_y < y_expect+1)
                    {
                        Current_time = timer;
                        if(throttle_balance_flag == 2)
                        {
                            throttle_balance_flag = 3;
                            throttle_balance += 5;
                        }
                        position_move(5,&x_expect,&y_expect);  //去5点
                        state = 6;
                    }break;
                case 6 :
                    if(T265_x > x_expect-1 && T265_x < x_expect+1 && T265_y > y_expect-1 && T265_y < y_expect+1)
                    {
                        Current_time = timer;
                        position_move(6,&x_expect,&y_expect);  //去6点
                        state = 7;
                    }break;
                case 7 :
                    if(T265_x > x_expect-1 && T265_x < x_expect+1 && T265_y > y_expect-1 && T265_y < y_expect+1)
                    {
                        Current_time = timer;
                        position_move(7,&x_expect,&y_expect);  //去7点
                        state = 8;
                    }break;
                case 8 :
                    if(T265_x > x_expect-1 && T265_x < x_expect+1 && T265_y > y_expect-1 && T265_y < y_expect+1)
                    {
                        Current_time = timer;
                        position_move(8,&x_expect,&y_expect);  //去8点
                        state = 9;
                    }break;
                case 9 :
                    if(T265_x > x_expect-1 && T265_x < x_expect+1 && T265_y > y_expect-1 && T265_y < y_expect+1)
                    {
                        Current_time = timer;
                        if(throttle_balance_flag == 3)
                        {
                            throttle_balance_flag = 4;
                            throttle_balance += 8;
                        }
                        position_move(9,&x_expect,&y_expect);  //去9点
                        state = 10;
                    }break;
                case 10 :
                    if(T265_x > x_expect-1 && T265_x < x_expect+1 && T265_y > y_expect-1 && T265_y < y_expect+1)
                    {
                        Current_time = timer;
                        position_move(10,&x_expect,&y_expect);  //去10点
                        state = 11;
                    }break;
                case 11 :
                    if(T265_x > x_expect-1 && T265_x < x_expect+1 && T265_y > y_expect-1 && T265_y < y_expect+1)
                    {
                        Current_time = timer;
                        position_move(11,&x_expect,&y_expect);  //去11点
                        state = 12;
                    }break;
                case 12 :
                    if(T265_x > x_expect-1 && T265_x < x_expect+1 && T265_y > y_expect-1 && T265_y < y_expect+1)
                    {
                        Current_time = timer;
                        position_move(12,&x_expect,&y_expect);  //去12点
                        state = 13;
                    }break;
                case 13 :
                    if(T265_x > x_expect-1 && T265_x < x_expect+1 && T265_y > y_expect-1 && T265_y < y_expect+1)
                    {
                        Current_time = timer;
                        if(throttle_balance_flag == 4)
                        {
                            throttle_balance_flag = 5;
                            throttle_balance += 10;
                        }
                        position_move(13,&x_expect,&y_expect);  //去13点
                        state = 14;
                    }break;
                case 14 :
                    if(T265_x > x_expect-1 && T265_x < x_expect+1 && T265_y > y_expect-1 && T265_y < y_expect+1)
                    {
                        Current_time = timer;
                        position_move(14,&x_expect,&y_expect);  //去14点
                        state = 15;
                    }break;
                case 15 :
                    if(T265_x > x_expect-1 && T265_x < x_expect+1 && T265_y > y_expect-1 && T265_y < y_expect+1)
                    {
                        Current_time = timer;
                        if(throttle_balance_flag == 5)
                        {
                            throttle_balance_flag = 0;
                            throttle_balance += 5;
                        }
                        position_move(0,&x_expect,&y_expect);  //回到0点
                        state = 16;
                    }break;
                case 16 :  //我的毕设演示-开始
//                    if(T265_x > x_expect-1 && T265_x < x_expect+1 && T265_y > y_expect-1 && T265_y < y_expect+1)
//                    {
//                        Height_flag = 5;
//                        start_flag = 0;
//                        state = 17;
//                    }
                    position_move(1,&x_expect,&y_expect);  //去1点
//                    throttle_balance += 5;
                    state = 17;
                case 17 :
                    if(T265_x > x_expect-1 && T265_x < x_expect+1 && T265_y > y_expect-1 && T265_y < y_expect+1)
                    {
                        Height_flag = 6;
                        Current_time = timer;
//                        start_flag = 0;
                        state = 18;
                    }break;
                case 18 :
                    if(timer > (Current_time+5))
                    {
                        Height_flag = 7;
                        Current_time = timer;
                        Hatch_on();
                        beep_on();beep_on();beep_on();
                        state = 19;
                    }break;
                case 19 :
                    if(timer > (Current_time+8))
                    {
//                        Height_flag = 7;
                        position_move(0,&x_expect,&y_expect);  //回到0点
                        state = 20;
                    }break;
                case 20 :  //我的毕设演示-结束
                    if(T265_x > x_expect-1 && T265_x < x_expect+1 && T265_y > y_expect-1 && T265_y < y_expect+1)
                    {
                        Height_flag = 5;
//                        Current_time = timer;
//                        start_flag = 0;
                        state = 21;
                    }break;
                case 21 :  //峰哥的毕设演示-开始
                    position_move(1,&x_expect,&y_expect);  //去1点
                    Current_time = timer;
                    state = 22;
                    break;
                case 22 :
                    if(T265_x > x_expect-1 && T265_x < x_expect+1 && T265_y > y_expect-1 && T265_y < y_expect+1)
                    {
                        if(timer > (Current_time+8))
                        {
                            position_move(2,&x_expect,&y_expect);  //去2点
                            Current_time = timer;
                            state = 23;
                        }
                    }
                    break;
                case 23 :
                    if(T265_x > x_expect-1 && T265_x < x_expect+1 && T265_y > y_expect-1 && T265_y < y_expect+1)
                    {
                        if(throttle_balance_flag == 1)
                        {
                            throttle_balance_flag = 0;
                            throttle_balance += 6;
                        }
                        if (timer > (Current_time + 8)) {
                            position_move(1, &x_expect, &y_expect);  //去1点
                            Current_time = timer;
                            state = 24;
                        }
                    }break;
                case 24 :  //峰哥的毕设演示-结束
                    if(T265_x > x_expect-1 && T265_x < x_expect+1 && T265_y > y_expect-1 && T265_y < y_expect+1)
                    {
                        if (timer > (Current_time + 8))
                        {
                            Height_flag = 5;
                            state = 25;
                        }
                    }break;

                default: break;
            }

            //下面这段代码是2023年的国赛巡航代码 由于频繁使用if..else..语句，已优化为上面的switch形式
            //可以将这段注释掉的代码折叠
/*
            if(state == 0 && Height_real > 170 && Height_real < 190)
            {
                state = 1;
                Current_time = timer;
            }
            if(state == 1 && timer > (Current_time+4) && Height_real > 160 && Height_real < 190 && Yaw_T265 < yaw_expect + 2 && Yaw_T265 > yaw_expect - 2)
            {
//                if(T265_x < 3 && T265_x > -3 && T265_y < 3 && T265_y > -3)
                    state = 2;
//                else
//                    Current_time = timer - 3;
                //Current_time = timer;
            }  //上面为启动（稳定悬停）的判断

            if(state == 2 && Yaw_T265 < yaw_expect + 3 && Yaw_T265 > yaw_expect - 3)  //正式跑图
            {
                position_move(1,&x_expect,&y_expect);  //去1点
                if(T265_x > x_expect-1 && T265_x < x_expect+1 && T265_y > y_expect-1 && T265_y < y_expect+1)
                {
                    Current_time = timer;
                    state = 3;
                }
            }
            else if(state == 3 && timer > Current_time)  // timer > Current_time+2
            {
                position_move(2,&x_expect,&y_expect);  //去2点 转折点
                if(T265_x > x_expect-1 && T265_x < x_expect+1 && T265_y > y_expect-1 && T265_y < y_expect+1)
                {
                    Current_time = timer;
                    if(throttle_balance_flag == 1)
                    {
                        throttle_balance_flag = 2;
                        throttle_balance += 8;
                    }
                    state = 4;
                }
            }
            else if(state == 4 && timer > Current_time)
            {
                position_move(3,&x_expect,&y_expect);  //去3点
                if(T265_x > x_expect-1 && T265_x < x_expect+1 && T265_y > y_expect-1 && T265_y < y_expect+1)
                {
                    Current_time = timer;
                    state = 5;
                }
            }
            else if(state == 5 && timer > Current_time)
            {
                position_move(4,&x_expect,&y_expect);  //去4点 转折点
                if(T265_x > x_expect-1 && T265_x < x_expect+1 && T265_y > y_expect-1 && T265_y < y_expect+1)
                {
                    Current_time = timer;
                    if(throttle_balance_flag == 2)
                    {
                        throttle_balance_flag = 3;
                        throttle_balance += 5;
                    }
                    state = 6;
                }
            }
            else if(state == 6 && timer > Current_time)
            {
                position_move(5,&x_expect,&y_expect);  //去5点
                if(T265_x > x_expect-1 && T265_x < x_expect+1 && T265_y > y_expect-1 && T265_y < y_expect+1)
                {
                    Current_time = timer;
                    state = 7;
                }
            }
            else if(state == 7 && timer > Current_time)
            {
                position_move(6,&x_expect,&y_expect);  //去6点
                if(T265_x > x_expect-1 && T265_x < x_expect+1 && T265_y > y_expect-1 && T265_y < y_expect+1)
                {
                    Current_time = timer;
                    state = 8;
                }
            }
            else if(state == 8 && timer > Current_time)
            {
                position_move(7,&x_expect,&y_expect);  //去7点
                if(T265_x > x_expect-1 && T265_x < x_expect+1 && T265_y > y_expect-1 && T265_y < y_expect+1)
                {
                    Current_time = timer;
                    state = 9;
                }
            }
            else if(state == 9 && timer > Current_time)
            {
                position_move(8,&x_expect,&y_expect);  //去8点
                if(T265_x > x_expect-1 && T265_x < x_expect+1 && T265_y > y_expect-1 && T265_y < y_expect+1)
                {
                    Current_time = timer;
                    if(throttle_balance_flag == 3)
                    {
                        throttle_balance_flag = 4;
                        throttle_balance += 8;
                    }
                    state = 10;
                }
            }
            else if(state == 10 && timer > Current_time)
            {
                position_move(9,&x_expect,&y_expect);  //去9点
                if(T265_x > x_expect-1 && T265_x < x_expect+1 && T265_y > y_expect-1 && T265_y < y_expect+1)
                {
                    Current_time = timer;
                    state = 11;
                }
            }
            else if(state == 11 && timer > Current_time)
            {
                position_move(10,&x_expect,&y_expect);  //去10点
                if(T265_x > x_expect-1 && T265_x < x_expect+1 && T265_y > y_expect-1 && T265_y < y_expect+1)
                {
                    Current_time = timer;
                    state = 12;
                }
            }
            else if(state == 12 && timer > Current_time)
            {
                position_move(11,&x_expect,&y_expect);  //去11点
                if(T265_x > x_expect-1 && T265_x < x_expect+1 && T265_y > y_expect-1 && T265_y < y_expect+1)
                {
                    Current_time = timer;
                    state = 13;
                }
            }
            else if(state == 13 && timer > Current_time)
            {
                position_move(12,&x_expect,&y_expect);  //去12点
                if(T265_x > x_expect-1 && T265_x < x_expect+1 && T265_y > y_expect-1 && T265_y < y_expect+1)
                {
                    Current_time = timer;
                    state = 14;
                    if(throttle_balance_flag == 4)
                    {
                        throttle_balance_flag = 5;
                        throttle_balance += 10;
                    }
                }
            }
            else if(state == 14 && timer > Current_time)
            {
                position_move(13,&x_expect,&y_expect);  //去13点
                if(T265_x > x_expect-1 && T265_x < x_expect+1 && T265_y > y_expect-1 && T265_y < y_expect+1)
                {
                    Current_time = timer;
                    state = 15;
                }
            }
            else if(state == 15 && timer > Current_time)
            {
                position_move(13,&x_expect,&y_expect);  //去13点
                if(T265_x > x_expect-1 && T265_x < x_expect+1 && T265_y > y_expect-1 && T265_y < y_expect+1)
                {
                    Current_time = timer;
                    if(throttle_balance_flag == 5)
                    {
                        throttle_balance_flag = 0;
                        throttle_balance += 5;
                    }
                    state = 16;
                }
            }
            else if(state == 16 && timer > Current_time)
            {
                position_move(14,&x_expect,&y_expect);  //去14点
                if(T265_x > x_expect-1 && T265_x < x_expect+1 && T265_y > y_expect-1 && T265_y < y_expect+1)
                {
                    Current_time = timer;
                    state = 17;
                }
            }
            else if(state == 17 && timer > Current_time)
            {
                position_move(0,&x_expect,&y_expect);  //回到0点
                if(T265_x > x_expect-1 && T265_x < x_expect+1 && T265_y > y_expect-1 && T265_y < y_expect+1)
                {
                    Current_time = timer;
                    state = 18;
                }
            }
            else if(state == 18 && timer > Current_time)
            {
                Height_flag = 5;
                start_flag = 0;
            } //如果只做第一个题，程序在上面就终止

            if(start_flag == 2)  //正在做第二个题
            {
                if(openmv_temp == 0)
                {
                    HAL_UART_Receive(&huart6, openmv_buf, 3, 50);
                    state_temp = state;
                }

                if(openmv_buf[0] == 0x80 && openmv_temp == 0)
                {
                    state = 20;
                    openmv_temp = 1;
                    x_expect = T265_x;
                    y_expect = T265_y;
//                    beep_on();beep_on();beep_on();
                    Light_on();
                    Openmv_Data_change(openmv_buf[2],-openmv_buf[1],T265_x,T265_y,&fire_position_x,&fire_position_y);
                }

                if(timer > Current_time+2 && state == 20) {Height_flag = 6; Current_time = timer;state = 21;}  //下降高度
                if(timer > Current_time+5 && state == 21) {Hatch_on(); Current_time = timer;state = 22;Light_off();}  //开舱门
                if(timer > Current_time+3 && state == 22) {state = state_temp;Hatch_off(); Height_flag = 7;}  //恢复高度
            }*/
        }

        osDelay(200);
    }
  /* USER CODE END StartUser_Task */
}

void StartVOFA_Task(void const * argument)
{
  /* USER CODE BEGIN StartVOFA_Task */
//    TickType_t xPreviousWakeTime;
//    xPreviousWakeTime = xTaskGetTickCount();

    /* Infinite loop */
    for (;;) {
//    xQueueSend(Queue_SignalHandle,&res_buf,0);

//    xQueueReceive(Queue_PIDHandle,&roll,0);
//    xQueueReceive(Queue_PIDHandle,&pitch,0);
//    xQueueReceive(Queue_PIDHandle,&Yaw_T265,0);

//        Vofa_Input((float) throttle_balance, 0);
//        Vofa_Input((float) throttle, 1);
//        Vofa_Input((float) Height_real, 2);//DX_DIS T265_x
//        Vofa_Input((float) Height_speed, 3);//DY_DIS T265_y
//        Vofa_Send();

        Laser_dotting_base(); //激光笔闪烁
        osDelay(200);
//        vTaskDelayUntil(&xPreviousWakeTime, pdMS_TO_TICKS(1000));
    }
  /* USER CODE END StartVOFA_Task */
}

void StartPOWER_Task(void const * argument)
{
  /* USER CODE BEGIN StartPOWER_Task */
//    TickType_t xPreviousWakeTime;
//    xPreviousWakeTime = xTaskGetTickCount();

    /* Infinite loop */
    for (;;) {
        osDelay(500000);
//        vTaskDelayUntil(&xPreviousWakeTime, pdMS_TO_TICKS(1000));
    }
  /* USER CODE END StartPOWER_Task */
}
